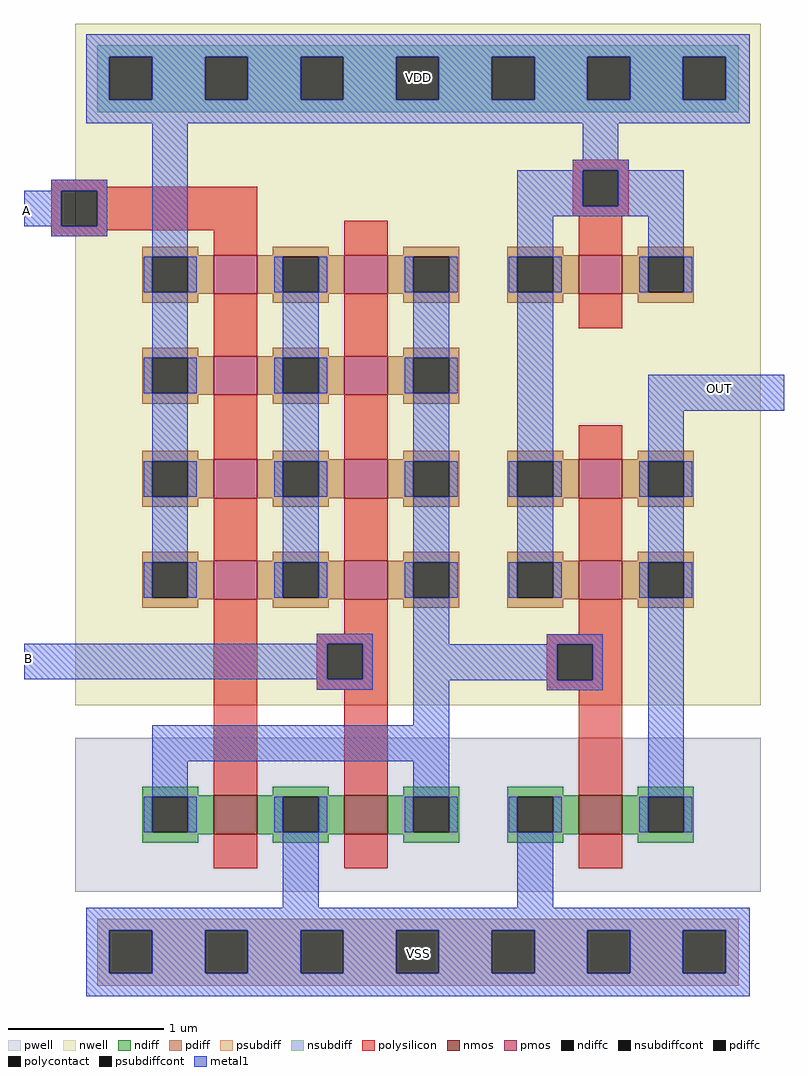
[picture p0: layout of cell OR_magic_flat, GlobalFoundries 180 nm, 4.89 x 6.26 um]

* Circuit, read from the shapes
.subckt OR_magic_flat A B OUT VDD VSS
XM1 VSS A n1 VSS nfet_03v3 w=0.25u l=0.28u
XM2 n1 B VSS VSS nfet_03v3 w=0.25u l=0.28u
XM3 OUT n1 VSS VSS nfet_03v3 w=0.25u l=0.28u
XM4 n2 A VDD VDD pfet_03v3 w=0.25u l=0.28u m=4
XM5 n1 B n2 VDD pfet_03v3 w=0.25u l=0.28u m=4
XM6 OUT n1 VDD VDD pfet_03v3 w=0.25u l=0.28u m=2
XM7 VDD VDD VDD VDD pfet_03v3 w=0.25u l=0.28u
.ends

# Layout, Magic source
magic
tech gf180mcuC
magscale 1 10
<< nwell >>
rect 0 -393 882 484
<< pwell >>
rect 0 -633 882 -435
<< nmos >>
rect 178 -559 234 -509
rect 346 -559 402 -509
rect 648 -559 704 -509
<< pmos >>
rect 178 136 234 186
rect 346 136 402 186
rect 648 136 704 186
rect 178 6 234 56
rect 346 6 402 56
rect 178 -127 234 -77
rect 346 -127 402 -77
rect 648 -127 704 -77
rect 178 -257 234 -207
rect 346 -257 402 -207
rect 648 -257 704 -207
<< ndiff >>
rect 86 -509 158 -498
rect 254 -509 326 -498
rect 422 -509 494 -498
rect 86 -511 178 -509
rect 86 -557 99 -511
rect 145 -557 178 -511
rect 86 -559 178 -557
rect 234 -511 346 -509
rect 234 -557 267 -511
rect 313 -557 346 -511
rect 234 -559 346 -557
rect 402 -511 494 -509
rect 402 -557 435 -511
rect 481 -557 494 -511
rect 402 -559 494 -557
rect 86 -570 158 -559
rect 254 -570 326 -559
rect 422 -570 494 -559
rect 556 -509 628 -498
rect 724 -509 796 -498
rect 556 -511 648 -509
rect 556 -557 569 -511
rect 615 -557 648 -511
rect 556 -559 648 -557
rect 704 -511 796 -509
rect 704 -557 737 -511
rect 783 -557 796 -511
rect 704 -559 796 -557
rect 556 -570 628 -559
rect 724 -570 796 -559
<< pdiff >>
rect 86 186 158 197
rect 254 186 326 197
rect 422 186 494 197
rect 86 184 178 186
rect 86 138 99 184
rect 145 138 178 184
rect 86 136 178 138
rect 234 184 346 186
rect 234 138 267 184
rect 313 138 346 184
rect 234 136 346 138
rect 402 184 494 186
rect 402 138 435 184
rect 481 138 494 184
rect 402 136 494 138
rect 86 125 158 136
rect 86 56 158 67
rect 254 125 326 136
rect 254 56 326 67
rect 422 125 494 136
rect 556 186 628 197
rect 724 186 796 197
rect 556 184 648 186
rect 556 138 569 184
rect 615 138 648 184
rect 556 136 648 138
rect 704 184 796 186
rect 704 138 737 184
rect 783 138 796 184
rect 704 136 796 138
rect 556 125 628 136
rect 724 125 796 136
rect 422 56 494 67
rect 86 54 178 56
rect 86 8 99 54
rect 145 8 178 54
rect 86 6 178 8
rect 234 54 346 56
rect 234 8 267 54
rect 313 8 346 54
rect 234 6 346 8
rect 402 54 494 56
rect 402 8 435 54
rect 481 8 494 54
rect 402 6 494 8
rect 86 -5 158 6
rect 86 -77 158 -66
rect 254 -5 326 6
rect 254 -77 326 -66
rect 422 -5 494 6
rect 422 -77 494 -66
rect 86 -79 178 -77
rect 86 -125 99 -79
rect 145 -125 178 -79
rect 86 -127 178 -125
rect 234 -79 346 -77
rect 234 -125 267 -79
rect 313 -125 346 -79
rect 234 -127 346 -125
rect 402 -79 494 -77
rect 402 -125 435 -79
rect 481 -125 494 -79
rect 402 -127 494 -125
rect 86 -138 158 -127
rect 86 -207 158 -196
rect 254 -138 326 -127
rect 254 -207 326 -196
rect 422 -138 494 -127
rect 556 -77 628 -66
rect 724 -77 796 -66
rect 556 -79 648 -77
rect 556 -125 569 -79
rect 615 -125 648 -79
rect 556 -127 648 -125
rect 704 -79 796 -77
rect 704 -125 737 -79
rect 783 -125 796 -79
rect 704 -127 796 -125
rect 556 -138 628 -127
rect 422 -207 494 -196
rect 86 -209 178 -207
rect 86 -255 99 -209
rect 145 -255 178 -209
rect 86 -257 178 -255
rect 234 -209 346 -207
rect 234 -255 267 -209
rect 313 -255 346 -209
rect 234 -257 346 -255
rect 402 -209 494 -207
rect 402 -255 435 -209
rect 481 -255 494 -209
rect 402 -257 494 -255
rect 86 -268 158 -257
rect 254 -268 326 -257
rect 422 -268 494 -257
rect 556 -207 628 -196
rect 724 -138 796 -127
rect 724 -207 796 -196
rect 556 -209 648 -207
rect 556 -255 569 -209
rect 615 -255 648 -209
rect 556 -257 648 -255
rect 704 -209 796 -207
rect 704 -255 737 -209
rect 783 -255 796 -209
rect 704 -257 796 -255
rect 556 -268 628 -257
rect 724 -268 796 -257
<< ndiffc >>
rect 99 -557 145 -511
rect 267 -557 313 -511
rect 435 -557 481 -511
rect 569 -557 615 -511
rect 737 -557 783 -511
<< pdiffc >>
rect 99 138 145 184
rect 267 138 313 184
rect 435 138 481 184
rect 569 138 615 184
rect 737 138 783 184
rect 99 8 145 54
rect 267 8 313 54
rect 435 8 481 54
rect 99 -125 145 -79
rect 267 -125 313 -79
rect 435 -125 481 -79
rect 569 -125 615 -79
rect 737 -125 783 -79
rect 99 -255 145 -209
rect 267 -255 313 -209
rect 435 -255 481 -209
rect 569 -255 615 -209
rect 737 -255 783 -209
<< psubdiff >>
rect 28 -683 854 -668
rect 28 -738 44 -683
rect 99 -738 167 -683
rect 222 -738 290 -683
rect 345 -738 413 -683
rect 468 -738 536 -683
rect 591 -738 659 -683
rect 714 -738 782 -683
rect 837 -738 854 -683
rect 28 -754 854 -738
<< nsubdiff >>
rect 28 441 854 456
rect 28 386 44 441
rect 99 386 167 441
rect 222 386 290 441
rect 345 386 413 441
rect 468 386 536 441
rect 591 386 659 441
rect 714 386 782 441
rect 837 386 854 441
rect 28 370 854 386
<< psubdiffcont >>
rect 44 -738 99 -683
rect 167 -738 222 -683
rect 290 -738 345 -683
rect 413 -738 468 -683
rect 536 -738 591 -683
rect 659 -738 714 -683
rect 782 -738 837 -683
<< nsubdiffcont >>
rect 44 386 99 441
rect 167 386 222 441
rect 290 386 345 441
rect 413 386 468 441
rect 536 386 591 441
rect 659 386 714 441
rect 782 386 837 441
<< polysilicon >>
rect 640 295 712 309
rect -31 274 41 283
rect -31 269 234 274
rect -31 223 -18 269
rect 28 223 234 269
rect 640 249 653 295
rect 699 249 712 295
rect 640 236 712 249
rect -31 218 234 223
rect -31 210 41 218
rect 178 186 234 218
rect 346 186 402 230
rect 178 56 234 136
rect 346 56 402 136
rect 648 186 704 236
rect 648 92 704 136
rect 178 -77 234 6
rect 346 -77 402 6
rect 178 -207 234 -127
rect 346 -207 402 -127
rect 648 -77 704 -33
rect 178 -509 234 -257
rect 346 -301 402 -257
rect 648 -207 704 -127
rect 311 -314 402 -301
rect 648 -302 704 -257
rect 311 -360 324 -314
rect 370 -360 402 -314
rect 311 -373 402 -360
rect 346 -509 402 -373
rect 607 -315 704 -302
rect 607 -361 620 -315
rect 666 -361 704 -315
rect 607 -374 704 -361
rect 178 -603 234 -559
rect 346 -603 402 -559
rect 648 -509 704 -374
rect 648 -603 704 -559
<< polycontact >>
rect -18 223 28 269
rect 653 249 699 295
rect 324 -360 370 -314
rect 620 -361 666 -315
<< metal1 >>
rect 14 441 868 470
rect 14 386 44 441
rect 99 386 167 441
rect 222 386 290 441
rect 345 386 413 441
rect 468 386 536 441
rect 591 386 659 441
rect 714 386 782 441
rect 837 386 868 441
rect 14 356 868 386
rect -31 269 41 283
rect -66 223 -18 269
rect 28 223 41 269
rect -31 210 41 223
rect 99 184 145 356
rect 653 309 699 356
rect 640 295 712 309
rect 569 249 653 295
rect 699 249 783 295
rect 569 236 783 249
rect 569 184 615 236
rect 737 184 783 236
rect 88 138 99 184
rect 145 138 156 184
rect 256 138 267 184
rect 313 138 324 184
rect 424 138 435 184
rect 481 138 492 184
rect 558 138 569 184
rect 615 138 626 184
rect 726 138 737 184
rect 783 138 794 184
rect 99 54 145 138
rect 267 54 313 138
rect 435 54 481 138
rect 88 8 99 54
rect 145 8 156 54
rect 256 8 267 54
rect 313 8 324 54
rect 424 8 435 54
rect 481 8 492 54
rect 99 -79 145 8
rect 267 -79 313 8
rect 435 -79 481 8
rect 569 -79 615 138
rect 737 -14 912 32
rect 737 -79 783 -14
rect 88 -125 99 -79
rect 145 -125 156 -79
rect 256 -125 267 -79
rect 313 -125 324 -79
rect 424 -125 435 -79
rect 481 -125 492 -79
rect 558 -125 569 -79
rect 615 -125 626 -79
rect 726 -125 737 -79
rect 783 -125 794 -79
rect 99 -209 145 -125
rect 267 -209 313 -125
rect 435 -209 481 -125
rect 569 -209 615 -125
rect 737 -209 783 -125
rect 88 -255 99 -209
rect 145 -255 156 -209
rect 256 -255 267 -209
rect 313 -255 324 -209
rect 424 -255 435 -209
rect 481 -255 492 -209
rect 558 -255 569 -209
rect 615 -255 626 -209
rect 726 -255 737 -209
rect 783 -255 794 -209
rect 311 -314 383 -301
rect -66 -360 324 -314
rect 370 -360 383 -314
rect 311 -373 383 -360
rect 435 -315 481 -255
rect 607 -315 679 -302
rect 435 -361 620 -315
rect 666 -361 679 -315
rect 435 -419 481 -361
rect 607 -374 679 -361
rect 99 -465 481 -419
rect 99 -511 145 -465
rect 435 -511 481 -465
rect 737 -511 783 -255
rect 88 -557 99 -511
rect 145 -557 156 -511
rect 256 -557 267 -511
rect 313 -557 324 -511
rect 424 -557 435 -511
rect 481 -557 492 -511
rect 558 -557 569 -511
rect 615 -557 626 -511
rect 726 -557 737 -511
rect 783 -557 794 -511
rect 267 -654 313 -557
rect 569 -654 615 -557
rect 14 -683 868 -654
rect 14 -738 44 -683
rect 99 -738 167 -683
rect 222 -738 290 -683
rect 345 -738 413 -683
rect 468 -738 536 -683
rect 591 -738 659 -683
rect 714 -738 782 -683
rect 837 -738 868 -683
rect 14 -768 868 -738
<< labels >>
flabel metal1 -63 244 -63 244 0 FreeSans 320 0 0 0 A
port 1 nsew
flabel metal1 -60 -333 -60 -333 0 FreeSans 320 0 0 0 B
port 2 nsew
flabel metal1 829 14 829 14 0 FreeSans 320 0 0 0 OUT
port 3 nsew
flabel nsubdiffcont 442 414 442 414 0 FreeSans 480 0 0 0 VDD
port 5 nsew
flabel psubdiffcont 442 -713 442 -713 0 FreeSans 480 0 0 0 VSS
port 7 nsew
<< end >>
